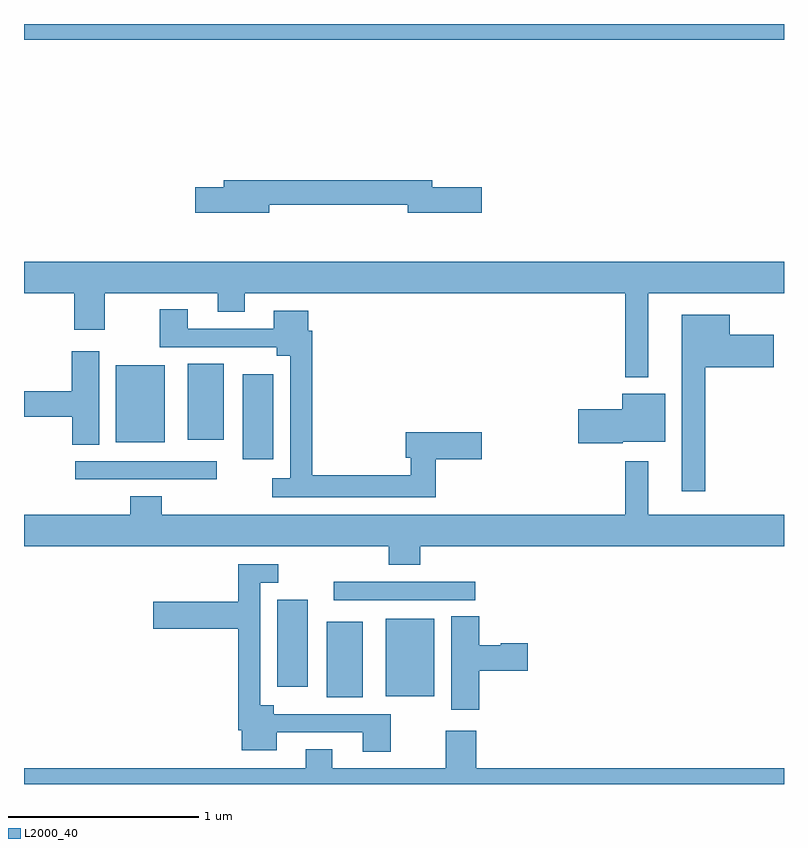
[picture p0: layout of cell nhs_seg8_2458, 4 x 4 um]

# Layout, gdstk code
import gdstk
lib = gdstk.Library(unit=1e-6, precision=1e-09)
def R(c, l, rs):  # rectangles x0, y0, x1, y1
    for r in rs: c.add(gdstk.rectangle(r[:2], r[2:], *l))
def P(c, l, *ps):  # polygons
    for p in ps: c.add(gdstk.Polygon(p, *l))
L2000_40 = (2000, 40)

nhs_seg8_2458 = lib.new_cell('nhs_seg8_2458')
R(nhs_seg8_2458, L2000_40, [(266.594,1130.357,266.782,1130.755), (266.903,1130.363,267.16,1130.77), (266.333,1130.412,266.494,1130.869), (266.631,1130.868,267.376,1130.964), (265.269,1131.504,266.014,1131.6), (266.15,1131.609,266.311,1132.057), (265.484,1131.698,265.741,1132.105), (265.862,1131.713,266.05,1132.111), (265,1133.816,269,1133.9)])
P(nhs_seg8_2458, L2000_40, [(266.29,1132.95),(267.02,1132.95),(267.02,1132.907),(267.409,1132.907),(267.409,1133.042),(267.148,1133.042),(267.148,1133.078),(266.051,1133.078),(266.051,1133.042),(265.902,1133.042),(265.902,1132.907),(266.29,1132.907)],
  [(268.285,1132.484),(269,1132.484),(269,1132.648),(265,1132.648),(265,1132.484),(265.265,1132.484),(265.265,1132.29),(265.425,1132.29),(265.425,1132.484),(266.021,1132.484),(266.021,1132.385),(266.161,1132.385),(266.161,1132.484),(268.164,1132.484),(268.164,1132.04),(268.285,1132.04)],
  [(267.167,1131.61),(267.409,1131.61),(267.409,1131.752),(267.008,1131.752),(267.008,1131.617),(267.035,1131.617),(267.035,1131.524),(266.516,1131.524),(266.516,1132.286),(266.497,1132.286),(266.497,1132.39),(266.315,1132.39),(266.315,1132.296),(265.861,1132.296),(265.861,1132.399),(265.714,1132.399),(265.714,1132.2),(266.33,1132.2),(266.33,1132.154),(266.4,1132.154),(266.4,1131.508),(266.307,1131.508),(266.307,1131.408),(267.167,1131.408)],
  [(268.585,1132.094),(268.945,1132.094),(268.945,1132.264),(268.714,1132.264),(268.714,1132.369),(268.463,1132.369),(268.463,1131.441),(268.585,1131.441)],
  [(265.396,1132.177),(265.25,1132.177),(265.25,1131.968),(265,1131.968),(265,1131.832),(265.255,1131.832),(265.255,1131.685),(265.396,1131.685)],
  [(268.152,1131.701),(268.375,1131.701),(268.375,1131.955),(268.148,1131.955),(268.148,1131.872),(267.918,1131.872),(267.918,1131.694),(268.152,1131.694)],
  [(267.086,1131.152),(269,1131.152),(269,1131.316),(268.285,1131.316),(268.285,1131.598),(268.164,1131.598),(268.164,1131.316),(265.724,1131.316),(265.724,1131.415),(265.559,1131.415),(265.559,1131.316),(265,1131.316),(265,1131.152),(266.921,1131.152),(266.921,1131.053),(267.086,1131.053)],
  [(266.931,1130.268),(266.314,1130.268),(266.314,1130.314),(266.244,1130.314),(266.244,1130.96),(266.338,1130.96),(266.338,1131.057),(266.128,1131.057),(266.128,1130.859),(265.68,1130.859),(265.68,1130.717),(266.128,1130.717),(266.128,1130.182),(266.147,1130.182),(266.147,1130.078),(266.329,1130.078),(266.329,1130.172),(266.783,1130.172),(266.783,1130.07),(266.931,1130.07)],
  [(267.395,1130.495),(267.652,1130.495),(267.652,1130.642),(267.509,1130.642),(267.509,1130.629),(267.395,1130.629),(267.395,1130.783),(267.248,1130.783),(267.248,1130.292),(267.395,1130.292)],
  [(269,1129.984),(267.38,1129.984),(267.38,1130.179),(267.22,1130.179),(267.22,1129.984),(266.623,1129.984),(266.623,1130.083),(266.483,1130.083),(266.483,1129.984),(265,1129.984),(265,1129.9),(269,1129.9)])

lib.write_gds('nhs_seg8_2458.gds')
